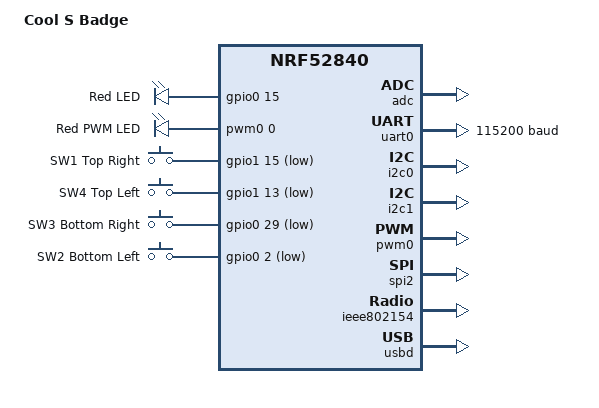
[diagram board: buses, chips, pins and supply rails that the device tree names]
/*
 * Copyright (c) 2024 MASSDRIVER EI (massdriver.space)
 * Copyright (c) 2018-2023 Nordic Semiconductor ASA
 * Copyright (c) 2017 Linaro Limited
 *
 * SPDX-License-Identifier: Apache-2.0
 */

/dts-v1/;
#include <nordic/nrf52840_qiaa.dtsi>
#include "cool_s-pinctrl.dtsi"
#include <zephyr/dt-bindings/input/input-event-codes.h>


/ {
	model = "Cool S Badge";
	compatible = "diodes-delight,cool-s";

	chosen {
		zephyr,sram = &sram0;
		zephyr,flash = &flash0;
		zephyr,code-partition = &slot0_partition;
		zephyr,ieee802154 = &ieee802154;
	};

	leds {
		compatible = "gpio-leds";
		led0: led_0 {
			gpios = <&gpio0 15 GPIO_ACTIVE_HIGH>;
			label = "Red LED";
		};
	};

	pwmleds {
		compatible = "pwm-leds";
		red_pwm_led: led_pwm_0 {
			pwms = <&pwm0 0 PWM_MSEC(20) PWM_POLARITY_INVERTED>;
			label = "Red PWM LED";
		};
	};

	aliases {
		led0 = &led0;
		pwm-led0 = &red_pwm_led;
		red-pwm-led = &red_pwm_led;
		bootloader-led0 = &led0;
		mcuboot-led0 = &led0;
		mcuboot-button0 = &button0;
		wakeup = &button3;
		spi = &spi1;
		watchdog0 = &wdt0;
	};
	buttons {
		// label corresponds to schematic name, just for better identification on the board
		compatible = "gpio-keys";
		button0: button0 {
			gpios = <&gpio1 15 (GPIO_PULL_UP | GPIO_ACTIVE_LOW)>;
			label = "SW1 Top Right";
			zephyr,code = <INPUT_KEY_0>;
		};
		button1: button1 {
			gpios = <&gpio1 13 (GPIO_PULL_UP | GPIO_ACTIVE_LOW)>;
			label = "SW4 Top Left";
			zephyr,code = <INPUT_KEY_1>;
		};
		button2: button2 {
			gpios = <&gpio0 29 (GPIO_PULL_UP | GPIO_ACTIVE_LOW)>;
			label = "SW3 Bottom Right";
			zephyr,code = <INPUT_KEY_2>;
		};
		button3: button3 {
			gpios = <&gpio0 2 (GPIO_PULL_UP | GPIO_ACTIVE_LOW)>;
			label = "SW2 Bottom Left";
			zephyr,code = <INPUT_KEY_3>;
		};
	};
};

&adc {
	status = "okay";
};

&gpiote {
	status = "okay";
};

&uicr {
	nfct-pins-as-gpios;
	gpio-as-nreset;
};

&gpio0 {
	status = "okay";
};

&gpio1 {
	status = "okay";
};

&uart0 {
	compatible = "nordic,nrf-uarte";
	status = "okay";
	current-speed = <115200>;
	pinctrl-0 = <&uart0_default>;
	pinctrl-1 = <&uart0_sleep>;
	pinctrl-names = "default", "sleep";
};

&i2c0 {
	compatible = "nordic,nrf-twi";
	status = "okay";
	pinctrl-0 = <&i2c0_default>;
	pinctrl-1 = <&i2c0_sleep>;
	pinctrl-names = "default", "sleep";
};

&i2c1 {
	compatible = "nordic,nrf-twi";
	status = "okay";
	pinctrl-0 = <&i2c1_default>;
	pinctrl-1 = <&i2c1_sleep>;
	pinctrl-names = "default", "sleep";
};

&pwm0 {
	status = "okay";
	pinctrl-0 = <&pwm0_default>;
	pinctrl-1 = <&pwm0_sleep>;
	pinctrl-names = "default", "sleep";
};


&spi2 {
	compatible = "nordic,nrf-spi";
	status = "okay";
	pinctrl-0 = <&spi2_default>;
	pinctrl-1 = <&spi2_sleep>;
	pinctrl-names = "default", "sleep";
};

&ieee802154 {
	status = "okay";
};

zephyr_udc0: &usbd {
	compatible = "nordic,nrf-usbd";
	status = "okay";
};

#include <../boards/common/usb/cdc_acm_serial.dtsi>


// EDITING THESE DOES NOTHING
// We are using mcuboot (and thus sysbuild) so nRF Connect will force enable partition manager which overrides any partitioning done here
// See https://academy.nordicsemi.com/courses/nrf-connect-sdk-intermediate/lessons/lesson-8-sysbuild/topic/sysbuild-partition-manager/

&flash0 {
	partitions {
		compatible = "fixed-partitions";
		#address-cells = <1>;
		#size-cells = <1>;

		boot_partition: partition@0 {
			label = "mcuboot";
			reg = <0x00000000 DT_SIZE_K(70)>;
		};

		slot0_partition: partition@11800 {
			label = "image-0";
			reg = <0x00011800 DT_SIZE_K(400)>;
		};

		slot1_partition: partition@75800 {
			label = "image-1";
			reg = <0x00075800 DT_SIZE_K(400)>;
		};

		storage_partition: partition@D9800 {
			label = "storage";
			reg = <0x000D9800 DT_SIZE_K(128)>;
		};
	};
};
